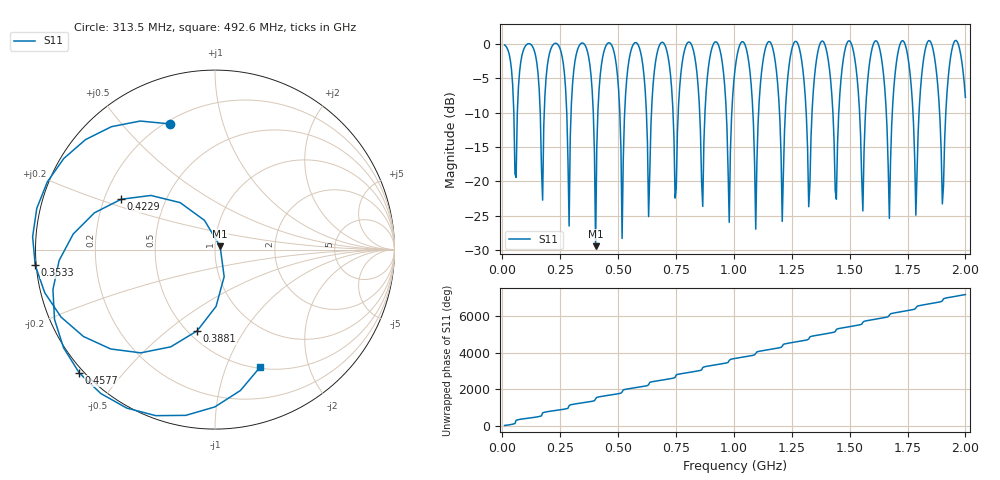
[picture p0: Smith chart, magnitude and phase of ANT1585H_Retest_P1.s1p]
!Created with skrf (http://scikit-rf.org).
# Hz S RI R 50.0
!freq ReS11 ImS11
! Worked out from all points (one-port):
!   401 points, 10 MHz to 2 GHz, reference 50 ohm
!   lowest |S11| = -29.5 dB at 403 MHz (marker M1), VSWR 1.07, Z = 52.9 + j1.89 ohm
!   |S11| at or under -10 dB: 967.3 MHz to 991.1 MHz (23.79 MHz wide, 2.43 % of centre); 1.082 GHz to 1.107 GHz (24.69 MHz wide, 2.26 % of centre); 1.197 GHz to 1.222 GHz (25.24 MHz wide, 2.09 % of centre) (the widest 3 of 17)
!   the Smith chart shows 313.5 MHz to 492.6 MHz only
!   S11 on the Smith chart (normalised r, x): 313.5 MHz: 0.22, +0.68; 353.3 MHz: -0.00, -0.04; 388.1 MHz: 0.56, -0.64; 422.9 MHz: 0.27, +0.23; 457.8 MHz: -0.01, -0.39; 492.6 MHz: 0.51, -1.32
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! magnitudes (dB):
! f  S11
! 10 MHz  -0.1
! 174.2 MHz  -22.7
! 258.8 MHz  -1.9
! 313.5 MHz  -2.6
! 353.3 MHz  0.0
! 388.1 MHz  -6.7
! 403 MHz  -29.5
! 422.9 MHz  -4.5
! 457.8 MHz  0.2
! 492.6 MHz  -3.1
! 507.5 MHz  -9.9
! 691.6 MHz  0.3
! 756.2 MHz  -13.0
! 1.005 GHz  -3.7
! 1.095 GHz  -27.0
! 1.159 GHz  0.2
! 1.209 GHz  -25.9
! 1.254 GHz  -0.3
! 1.443 GHz  -22.6
! 1.502 GHz  0.4
! 1.557 GHz  -24.3
! 1.602 GHz  0.0
! 1.672 GHz  -25.4
! 1.751 GHz  -1.8
! 1.786 GHz  -24.9
! 1.836 GHz  0.3
! 1.901 GHz  -23.3
! 2 GHz  -7.8
